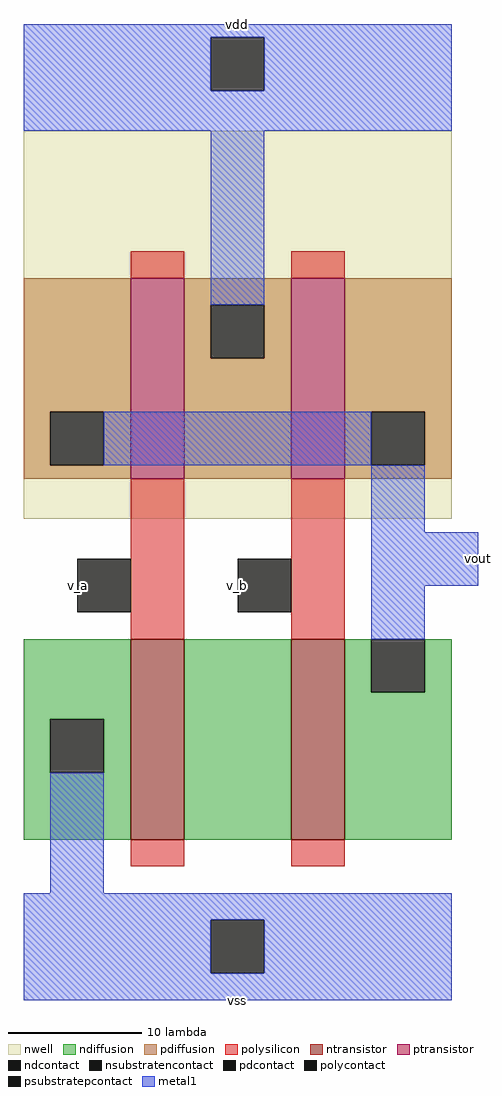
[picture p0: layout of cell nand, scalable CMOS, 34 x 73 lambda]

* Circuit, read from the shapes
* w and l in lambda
.subckt nand v_a v_b vdd vout vss
M1 n1 v_a vss vss nfet w=15 l=4
M2 vout v_b n1 vss nfet w=15 l=4
M3 vdd v_a vout n2 pfet w=15 l=4
M4 vout v_b vdd n2 pfet w=15 l=4
.ends

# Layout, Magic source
magic
tech scmos
<< nwell >>
rect -5 -4 27 25
<< polysilicon >>
rect 3 14 7 16
rect 15 14 19 16
rect 3 -13 7 -1
rect 15 -13 19 -1
rect 3 -30 7 -28
rect 15 -30 19 -28
<< ndiffusion >>
rect -5 -19 3 -13
rect -5 -23 -3 -19
rect 1 -23 3 -19
rect -5 -28 3 -23
rect 7 -28 15 -13
rect 19 -17 21 -13
rect 25 -17 27 -13
rect 19 -28 27 -17
<< pdiffusion >>
rect -5 4 3 14
rect -5 0 -3 4
rect 1 0 3 4
rect -5 -1 3 0
rect 7 12 15 14
rect 7 8 9 12
rect 13 8 15 12
rect 7 -1 15 8
rect 19 4 27 14
rect 19 0 21 4
rect 25 0 27 4
rect 19 -1 27 0
<< metal1 >>
rect -5 32 27 33
rect -5 28 9 32
rect 13 28 27 32
rect -5 25 27 28
rect 9 12 13 25
rect 1 0 21 4
rect 21 -5 25 0
rect 21 -9 29 -5
rect 21 -13 25 -9
rect -3 -32 1 -23
rect -5 -34 27 -32
rect -5 -38 9 -34
rect 13 -38 27 -34
rect -5 -40 27 -38
<< ntransistor >>
rect 3 -28 7 -13
rect 15 -28 19 -13
<< ptransistor >>
rect 3 -1 7 14
rect 15 -1 19 14
<< polycontact >>
rect -1 -11 3 -7
rect 11 -11 15 -7
<< ndcontact >>
rect -3 -23 1 -19
rect 21 -17 25 -13
<< pdcontact >>
rect -3 0 1 4
rect 9 8 13 12
rect 21 0 25 4
<< psubstratepcontact >>
rect 9 -38 13 -34
<< nsubstratencontact >>
rect 9 28 13 32
<< labels >>
rlabel metal1 -5 33 27 33 1 vdd
rlabel polycontact -1 -11 -1 -7 7 v_a
rlabel metal1 -5 -40 27 -40 1 vss
rlabel polycontact 11 -11 11 -7 1 v_b
rlabel metal1 29 -9 29 -5 7 vout
<< end >>
